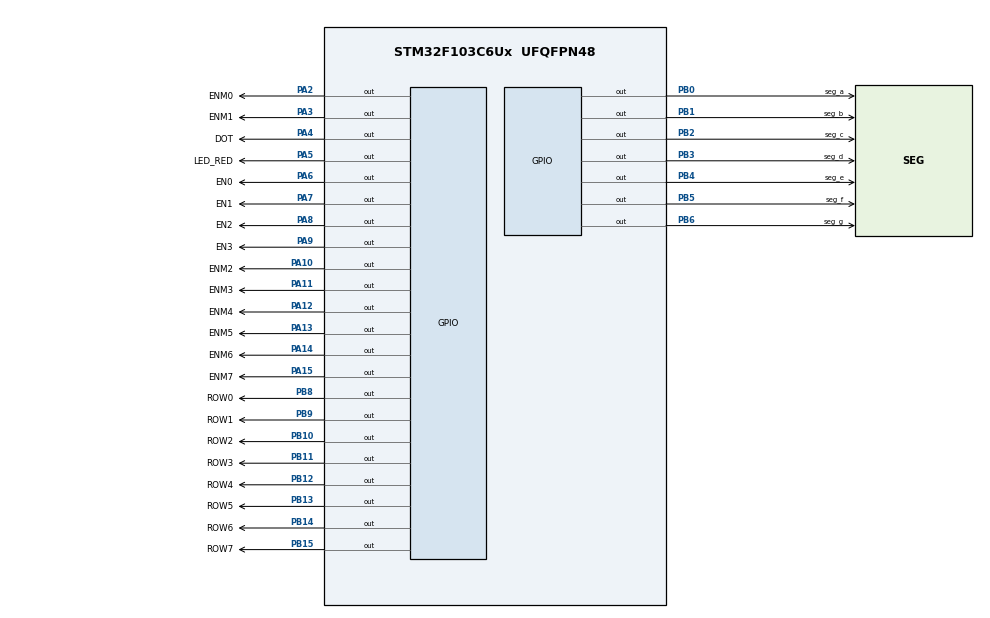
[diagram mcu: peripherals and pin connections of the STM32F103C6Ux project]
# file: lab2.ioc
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Mcu.Family=STM32F1
Mcu.Name=STM32F103C6Ux
Mcu.Package=UFQFPN48
NVIC.PriorityGroup=NVIC_PRIORITYGROUP_4
NVIC.TIM2_IRQn=true\:0\:0\:false\:false\:true\:true\:true
PA10.GPIO_Label=ENM2
PA10.Signal=GPIO_Output
PA11.GPIO_Label=ENM3
PA11.Signal=GPIO_Output
PA12.GPIO_Label=ENM4
PA12.Signal=GPIO_Output
PA13.GPIO_Label=ENM5
PA13.Signal=GPIO_Output
PA14.GPIO_Label=ENM6
PA14.Signal=GPIO_Output
PA15.GPIO_Label=ENM7
PA15.Signal=GPIO_Output
PA2.GPIO_Label=ENM0
PA2.Signal=GPIO_Output
PA3.GPIO_Label=ENM1
PA3.Signal=GPIO_Output
PA4.GPIO_Label=DOT
PA4.Signal=GPIO_Output
PA5.GPIO_Label=LED_RED
PA5.Signal=GPIO_Output
PA6.GPIO_Label=EN0
PA6.Signal=GPIO_Output
PA7.GPIO_Label=EN1
PA7.Signal=GPIO_Output
PA8.GPIO_Label=EN2
PA8.Signal=GPIO_Output
PA9.GPIO_Label=EN3
PA9.Signal=GPIO_Output
PB0.GPIO_Label=seg_a
PB0.Signal=GPIO_Output
PB1.GPIO_Label=seg_b
PB1.Signal=GPIO_Output
PB10.GPIO_Label=ROW2
PB10.Signal=GPIO_Output
PB11.GPIO_Label=ROW3
PB11.Signal=GPIO_Output
PB12.GPIO_Label=ROW4
PB12.Signal=GPIO_Output
PB13.GPIO_Label=ROW5
PB13.Signal=GPIO_Output
PB14.GPIO_Label=ROW6
PB14.Signal=GPIO_Output
PB15.GPIO_Label=ROW7
PB15.Signal=GPIO_Output
PB2.GPIO_Label=seg_c
PB2.Signal=GPIO_Output
PB3.GPIO_Label=seg_d
PB3.Signal=GPIO_Output
PB4.GPIO_Label=seg_e
PB4.Signal=GPIO_Output
PB5.GPIO_Label=seg_f
PB5.Signal=GPIO_Output
PB6.GPIO_Label=seg_g
PB6.Signal=GPIO_Output
PB8.GPIO_Label=ROW0
PB8.Signal=GPIO_Output
PB9.GPIO_Label=ROW1
PB9.Signal=GPIO_Output
ProjectManager.HeapSize=0x200
ProjectManager.StackSize=0x400
ProjectManager.TargetToolchain=STM32CubeIDE
RCC.APB1Freq_Value=8000000
RCC.APB2Freq_Value=8000000
TIM2.Period=9
TIM2.Prescaler=7999
VP_SYS_VS_ND.Mode=No_Debug
VP_TIM2_VS_ClockSourceINT.Mode=Internal
board=custom

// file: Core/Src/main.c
/* USER CODE BEGIN Header */
/**
  ******************************************************************************
  * @file           : main.c
  * @brief          : Main program body
  ******************************************************************************
  * @attention
  *
  * <h2><center>&copy; Copyright (c) 2025 STMicroelectronics.
  * All rights reserved.</center></h2>
  *
  * This software component is licensed by ST under BSD 3-Clause license,
  * the "License"; You may not use this file except in compliance with the
  * License. You may obtain a copy of the License at:
  *                        opensource.org/licenses/BSD-3-Clause
  *
  ******************************************************************************
  */
/* USER CODE END Header */
#include "main.h"

TIM_HandleTypeDef htim2;

void SystemClock_Config(void);
static void MX_GPIO_Init(void);
static void MX_TIM2_Init(void);

/* USER CODE BEGIN 0 */
// ===== TIMER 0 =====
int timer0_counter = 0;
int timer0_flag = 0;

int TIMER_CYCLE = 10;  // your base tick in ms or whatever

void setTimer0(int duration) {
    timer0_counter = duration / TIMER_CYCLE;
    timer0_flag = 0;
}

// ===== TIMER 1 =====
int timer1_counter = 0;
int timer1_flag = 0;

void setTimer1(int duration) {
    timer1_counter = duration / TIMER_CYCLE;
    timer1_flag = 0;
}

// ===== TIMER 2 =====
int timer2_counter = 0;
int timer2_flag = 0;

void setTimer2(int duration) {
    timer2_counter = duration / TIMER_CYCLE;
    timer2_flag = 0;
}

// ===== Common run function =====
void timer_run() {
    // Timer0
    if (timer0_counter > 0) {
        timer0_counter--;
        if (timer0_counter == 0) timer0_flag = 1;
    }

    // Timer1
    if (timer1_counter > 0) {
        timer1_counter--;
        if (timer1_counter == 0) timer1_flag = 1;
    }

    // Timer2
    if (timer2_counter > 0) {
        timer2_counter--;
        if (timer2_counter == 0) timer2_flag = 1;
    }
}
/* USER CODE END 0 */

int main(void)
{

  /* MCU Configuration--------------------------------------------------------*/

  /* Reset of all peripherals, Initializes the Flash interface and the Systick. */
  HAL_Init();

  /* Configure the system clock */
  SystemClock_Config();

  /* Initialize all configured peripherals */
  MX_GPIO_Init();
  MX_TIM2_Init();
  /* USER CODE BEGIN 2 */
  HAL_TIM_Base_Start_IT (& htim2 ) ;
  const int MAX_LED_MATRIX = 8;
  int index_led_matrix = 0;
//  uint8_t matrix_buffer[8] = {0x01 , 0x02 , 0x03 , 0x04 , 0x05 , 0x06 , 0x07 , 0x08 };
  //display A
  uint8_t matrix_buffer[8] = {
    0x00,
    0x1F,
    0x24,
    0x44,
    0x44,
    0x24,
    0x1F,
    0x00
  };

  void updateLEDMatrix (int index ){
	  //off all
	  HAL_GPIO_WritePin(ROW0_GPIO_Port, ROW0_Pin, GPIO_PIN_SET);
	  HAL_GPIO_WritePin(ROW1_GPIO_Port, ROW1_Pin, GPIO_PIN_SET);
	  HAL_GPIO_WritePin(ROW2_GPIO_Port, ROW2_Pin, GPIO_PIN_SET);
	  HAL_GPIO_WritePin(ROW3_GPIO_Port, ROW3_Pin, GPIO_PIN_SET);
	  HAL_GPIO_WritePin(ROW4_GPIO_Port, ROW4_Pin, GPIO_PIN_SET);
	  HAL_GPIO_WritePin(ROW5_GPIO_Port, ROW5_Pin, GPIO_PIN_SET);
	  HAL_GPIO_WritePin(ROW6_GPIO_Port, ROW6_Pin, GPIO_PIN_SET);
	  HAL_GPIO_WritePin(ROW7_GPIO_Port, ROW7_Pin, GPIO_PIN_SET);

	  HAL_GPIO_WritePin(ENM0_GPIO_Port, ENM0_Pin, GPIO_PIN_SET);
	  HAL_GPIO_WritePin(ENM1_GPIO_Port, ENM1_Pin, GPIO_PIN_SET);
	  HAL_GPIO_WritePin(ENM2_GPIO_Port, ENM2_Pin, GPIO_PIN_SET);
	  HAL_GPIO_WritePin(ENM3_GPIO_Port, ENM3_Pin, GPIO_PIN_SET);
	  HAL_GPIO_WritePin(ENM4_GPIO_Port, ENM4_Pin, GPIO_PIN_SET);
	  HAL_GPIO_WritePin(ENM5_GPIO_Port, ENM5_Pin, GPIO_PIN_SET);
	  HAL_GPIO_WritePin(ENM6_GPIO_Port, ENM6_Pin, GPIO_PIN_SET);
	  HAL_GPIO_WritePin(ENM7_GPIO_Port, ENM7_Pin, GPIO_PIN_SET);

	  //turn on column
      switch ( index ){
          case 0:
        	  HAL_GPIO_WritePin(ENM0_GPIO_Port, ENM0_Pin, GPIO_PIN_RESET);
              break;
          case 1:
        	  HAL_GPIO_WritePin(ENM1_GPIO_Port, ENM1_Pin, GPIO_PIN_RESET);
              break;
          case 2:
			  HAL_GPIO_WritePin(ENM2_GPIO_Port, ENM2_Pin, GPIO_PIN_RESET);
              break;
          case 3:
			  HAL_GPIO_WritePin(ENM3_GPIO_Port, ENM3_Pin, GPIO_PIN_RESET);
              break;
          case 4:
			  HAL_GPIO_WritePin(ENM4_GPIO_Port, ENM4_Pin, GPIO_PIN_RESET);
              break;
          case 5:
			  HAL_GPIO_WritePin(ENM5_GPIO_Port, ENM5_Pin, GPIO_PIN_RESET);
              break;
          case 6:
			  HAL_GPIO_WritePin(ENM6_GPIO_Port, ENM6_Pin, GPIO_PIN_RESET);
              break;
          case 7:
			  HAL_GPIO_WritePin(ENM7_GPIO_Port, ENM7_Pin, GPIO_PIN_RESET);
              break;
          default:
              break;
      }

      uint8_t pattern = matrix_buffer[index];
      //row pattern
      HAL_GPIO_WritePin(ROW0_GPIO_Port, ROW0_Pin,
                            (pattern & 0x01) ? GPIO_PIN_RESET : GPIO_PIN_SET);
	  HAL_GPIO_WritePin(ROW1_GPIO_Port, ROW1_Pin,
						(pattern & 0x02) ? GPIO_PIN_RESET : GPIO_PIN_SET);
	  HAL_GPIO_WritePin(ROW2_GPIO_Port, ROW2_Pin,
						(pattern & 0x04) ? GPIO_PIN_RESET : GPIO_PIN_SET);
	  HAL_GPIO_WritePin(ROW3_GPIO_Port, ROW3_Pin,
						(pattern & 0x08) ? GPIO_PIN_RESET : GPIO_PIN_SET);
	  HAL_GPIO_WritePin(ROW4_GPIO_Port, ROW4_Pin,
						(pattern & 0x10) ? GPIO_PIN_RESET : GPIO_PIN_SET);
	  HAL_GPIO_WritePin(ROW5_GPIO_Port, ROW5_Pin,
						(pattern & 0x20) ? GPIO_PIN_RESET : GPIO_PIN_SET);
	  HAL_GPIO_WritePin(ROW6_GPIO_Port, ROW6_Pin,
						(pattern & 0x40) ? GPIO_PIN_RESET : GPIO_PIN_SET);
	  HAL_GPIO_WritePin(ROW7_GPIO_Port, ROW7_Pin,
						(pattern & 0x80) ? GPIO_PIN_RESET : GPIO_PIN_SET);

  }
  setTimer0 (1000);
  setTimer1 (100);
  /* USER CODE END 2 */

  /* Infinite loop */
  /* USER CODE BEGIN WHILE */
  while (1)
  {
	  if( timer0_flag == 1) {
		  HAL_GPIO_TogglePin ( LED_RED_GPIO_Port , LED_RED_Pin ) ;
		  setTimer0 (1000) ;
	  }
	  if(timer1_flag == 1){
		  updateLEDMatrix(index_led_matrix);
		  index_led_matrix++;
		  if (index_led_matrix >= MAX_LED_MATRIX) index_led_matrix = 0;
		  setTimer1(100);
	  }
    /* USER CODE END WHILE */

  }
}

void SystemClock_Config(void)
{
  RCC_OscInitTypeDef RCC_OscInitStruct = {0};
  RCC_ClkInitTypeDef RCC_ClkInitStruct = {0};

  /** Initializes the RCC Oscillators according to the specified parameters
  * in the RCC_OscInitTypeDef structure.
  */
  RCC_OscInitStruct.OscillatorType = RCC_OSCILLATORTYPE_HSI;
  RCC_OscInitStruct.HSIState = RCC_HSI_ON;
  RCC_OscInitStruct.HSICalibrationValue = RCC_HSICALIBRATION_DEFAULT;
  RCC_OscInitStruct.PLL.PLLState = RCC_PLL_NONE;
  if (HAL_RCC_OscConfig(&RCC_OscInitStruct) != HAL_OK)
  {
    Error_Handler();
  }
  /** Initializes the CPU, AHB and APB buses clocks
  */
  RCC_ClkInitStruct.ClockType = RCC_CLOCKTYPE_HCLK|RCC_CLOCKTYPE_SYSCLK
                              |RCC_CLOCKTYPE_PCLK1|RCC_CLOCKTYPE_PCLK2;
  RCC_ClkInitStruct.SYSCLKSource = RCC_SYSCLKSOURCE_HSI;
  RCC_ClkInitStruct.AHBCLKDivider = RCC_SYSCLK_DIV1;
  RCC_ClkInitStruct.APB1CLKDivider = RCC_HCLK_DIV1;
  RCC_ClkInitStruct.APB2CLKDivider = RCC_HCLK_DIV1;

  if (HAL_RCC_ClockConfig(&RCC_ClkInitStruct, FLASH_LATENCY_0) != HAL_OK)
  {
    Error_Handler();
  }
}

static void MX_TIM2_Init(void)
{

  TIM_ClockConfigTypeDef sClockSourceConfig = {0};
  TIM_MasterConfigTypeDef sMasterConfig = {0};

  htim2.Instance = TIM2;
  htim2.Init.Prescaler = 7999;
  htim2.Init.CounterMode = TIM_COUNTERMODE_UP;
  htim2.Init.Period = 9;
  htim2.Init.ClockDivision = TIM_CLOCKDIVISION_DIV1;
  htim2.Init.AutoReloadPreload = TIM_AUTORELOAD_PRELOAD_DISABLE;
  if (HAL_TIM_Base_Init(&htim2) != HAL_OK)
  {
    Error_Handler();
  }
  sClockSourceConfig.ClockSource = TIM_CLOCKSOURCE_INTERNAL;
  if (HAL_TIM_ConfigClockSource(&htim2, &sClockSourceConfig) != HAL_OK)
  {
    Error_Handler();
  }
  sMasterConfig.MasterOutputTrigger = TIM_TRGO_RESET;
  sMasterConfig.MasterSlaveMode = TIM_MASTERSLAVEMODE_DISABLE;
  if (HAL_TIMEx_MasterConfigSynchronization(&htim2, &sMasterConfig) != HAL_OK)
  {
    Error_Handler();
  }

}

static void MX_GPIO_Init(void)
{
  GPIO_InitTypeDef GPIO_InitStruct = {0};

  /* GPIO Ports Clock Enable */
  __HAL_RCC_GPIOA_CLK_ENABLE();
  __HAL_RCC_GPIOB_CLK_ENABLE();

  /*Configure GPIO pin Output Level */
  HAL_GPIO_WritePin(GPIOA, ENM0_Pin|ENM1_Pin|DOT_Pin|LED_RED_Pin
                          |EN0_Pin|EN1_Pin|EN2_Pin|EN3_Pin
                          |ENM2_Pin|ENM3_Pin|ENM4_Pin|ENM5_Pin
                          |ENM6_Pin|ENM7_Pin, GPIO_PIN_RESET);

  /*Configure GPIO pin Output Level */
  HAL_GPIO_WritePin(GPIOB, seg_a_Pin|seg_b_Pin|seg_c_Pin|ROW2_Pin
                          |ROW3_Pin|ROW4_Pin|ROW5_Pin|ROW6_Pin
                          |ROW7_Pin|seg_d_Pin|seg_e_Pin|seg_f_Pin
                          |seg_g_Pin|ROW0_Pin|ROW1_Pin, GPIO_PIN_RESET);

  /*Configure GPIO pins : ENM0_Pin ENM1_Pin DOT_Pin LED_RED_Pin
                           EN0_Pin EN1_Pin EN2_Pin EN3_Pin
                           ENM2_Pin ENM3_Pin ENM4_Pin ENM5_Pin
                           ENM6_Pin ENM7_Pin */
  GPIO_InitStruct.Pin = ENM0_Pin|ENM1_Pin|DOT_Pin|LED_RED_Pin
                          |EN0_Pin|EN1_Pin|EN2_Pin|EN3_Pin
                          |ENM2_Pin|ENM3_Pin|ENM4_Pin|ENM5_Pin
                          |ENM6_Pin|ENM7_Pin;
  GPIO_InitStruct.Mode = GPIO_MODE_OUTPUT_PP;
  GPIO_InitStruct.Pull = GPIO_NOPULL;
  GPIO_InitStruct.Speed = GPIO_SPEED_FREQ_LOW;
  HAL_GPIO_Init(GPIOA, &GPIO_InitStruct);

  /*Configure GPIO pins : seg_a_Pin seg_b_Pin seg_c_Pin ROW2_Pin
                           ROW3_Pin ROW4_Pin ROW5_Pin ROW6_Pin
                           ROW7_Pin seg_d_Pin seg_e_Pin seg_f_Pin
                           seg_g_Pin ROW0_Pin ROW1_Pin */
  GPIO_InitStruct.Pin = seg_a_Pin|seg_b_Pin|seg_c_Pin|ROW2_Pin
                          |ROW3_Pin|ROW4_Pin|ROW5_Pin|ROW6_Pin
                          |ROW7_Pin|seg_d_Pin|seg_e_Pin|seg_f_Pin
                          |seg_g_Pin|ROW0_Pin|ROW1_Pin;
  GPIO_InitStruct.Mode = GPIO_MODE_OUTPUT_PP;
  GPIO_InitStruct.Pull = GPIO_NOPULL;
  GPIO_InitStruct.Speed = GPIO_SPEED_FREQ_LOW;
  HAL_GPIO_Init(GPIOB, &GPIO_InitStruct);

}

/* USER CODE BEGIN 4 */
void HAL_TIM_PeriodElapsedCallback ( TIM_HandleTypeDef * htim ){
	timer_run ();
}
/* USER CODE END 4 */

void Error_Handler(void)
{
  __disable_irq();
  while (1)
  {
  }
}

/************************ (C) COPYRIGHT STMicroelectronics *****END OF FILE****/
